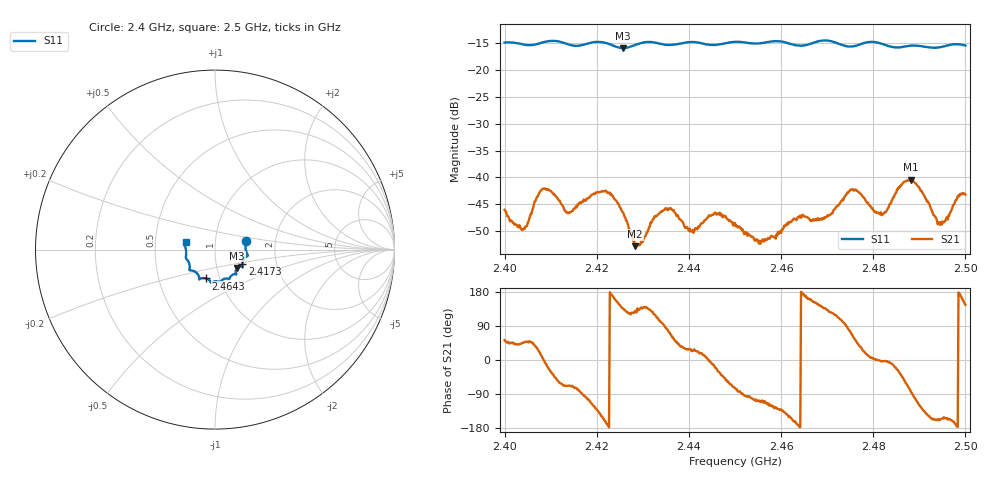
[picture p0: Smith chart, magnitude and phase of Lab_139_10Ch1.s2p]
# Hz S RI R 50
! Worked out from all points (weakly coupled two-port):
!   601 points, 2.4 GHz to 2.5 GHz, reference 50 ohm
!   highest |S21| = -40.45 dB at 2.4882 GHz (marker M1); lowest = -52.8 dB at 2.4283 GHz (marker M2)
!   lowest |S11| = -15.9 dB at 2.4257 GHz (marker M3), VSWR 1.38, Z = 62.4 - j13.1 ohm
!   |S11| at or under -10 dB: start of sweep to end of sweep
!   S12 and S22 are empty: the file has one direction only
!   S11 on the Smith chart (normalised r, x): 2.4 GHz: 1.41, +0.14; 2.4173 GHz: 1.34, -0.23; 2.4643 GHz: 0.86, -0.28; 2.5 GHz: 0.72, +0.06
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2.4e9  0.1732 0.0495  0.00304 0.00395  0 0  0 0
2.404e9  0.1712 0.0251  0.00231 0.00231  0 0  0 0
2.408333e9  0.1794 -0.0238  0.00782 0.000533  0 0  0 0
2.4135e9  0.1694 -0.0432  0.00173 -0.00435  0 0  0 0
2.416667e9  0.1529 -0.0745  0.000327 -0.00592  0 0  0 0
2.417333e9  0.1524 -0.0819  -0.000619 -0.00603  0 0  0 0
2.422333e9  0.1496 -0.0939  -0.00716 -0.00111  0 0  0 0
2.425667e9  0.1225 -0.1025  -0.00341 0.00327  0 0  0 0
2.428333e9  0.1152 -0.1265  -0.00147 0.00175  0 0  0 0
2.433333e9  0.1126 -0.1365  -0.00146 0.00431  0 0  0 0
2.436167e9  0.0929 -0.1438  0.00208 0.00462  0 0  0 0
2.4405e9  0.0792 -0.1641  0.00284 0.00131  0 0  0 0
2.445833e9  0.0485 -0.1643  0.00434 -0.00165  0 0  0 0
2.45e9  0.0296 -0.1806  0.00102 -0.00361  0 0  0 0
2.455667e9  -0.00392 -0.1776  -0.000833 -0.00241  0 0  0 0
2.464333e9  -0.0504 -0.1604  -0.00421 8.02e-06  0 0  0 0
2.466667e9  -0.0763 -0.1597  -0.0036 0.00156  0 0  0 0
2.4755e9  -0.1115 -0.1227  0.00333 0.00703  0 0  0 0
2.483333e9  -0.1409 -0.0897  0.00519 -0.000549  0 0  0 0
2.488167e9  -0.1609 -0.0498  0.00101 -0.00944  0 0  0 0
2.494333e9  -0.1624 0.00242  -0.00356 -0.00136  0 0  0 0
2.5e9  -0.1636 0.0418  -0.00572 0.00389  0 0  0 0
